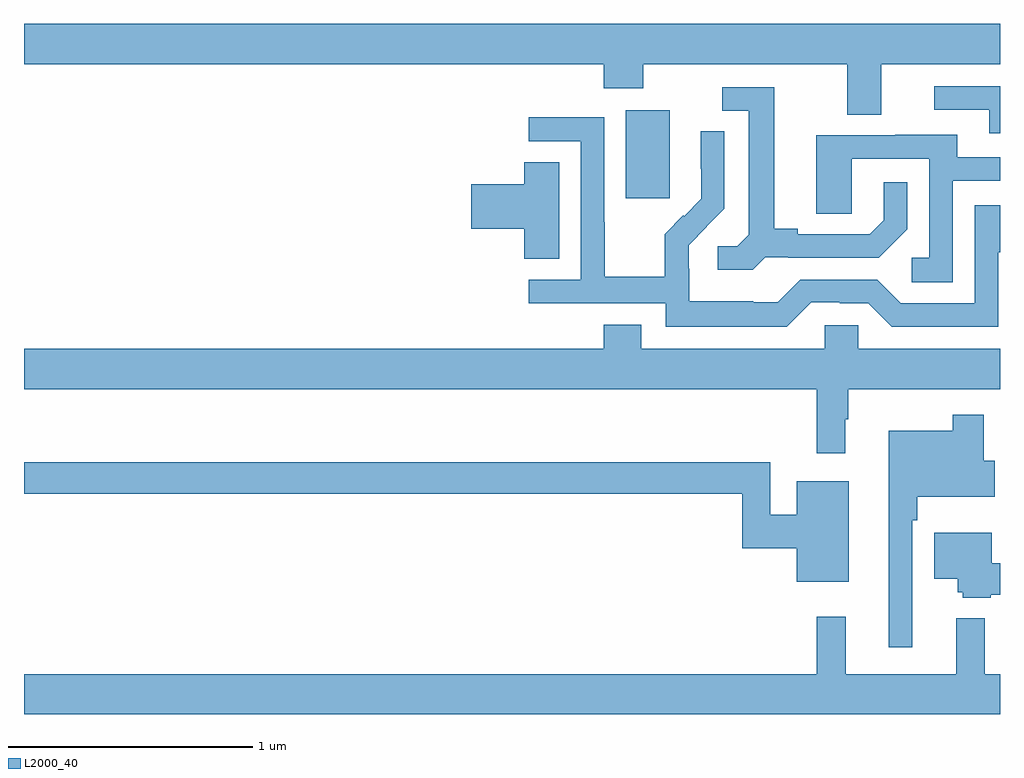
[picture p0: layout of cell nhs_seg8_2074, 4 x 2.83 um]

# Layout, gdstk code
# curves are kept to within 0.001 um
import gdstk
lib = gdstk.Library(unit=1e-6, precision=1e-09)
def R(c, l, rs):  # rectangles x0, y0, x1, y1
    for r in rs: c.add(gdstk.rectangle(r[:2], r[2:], *l))
def P(c, l, *ps):  # polygons
    for p in ps: c.add(gdstk.Polygon(p, *l))
L2000_40 = (2000, 40)

nhs_seg8_2074 = lib.new_cell('nhs_seg8_2074')
R(nhs_seg8_2074, L2000_40, [(243.467,1130.601,243.646,1130.962)])
P(nhs_seg8_2074, L2000_40, [(244.513,1131.152),(245,1131.152),(245,1131.316),(241,1131.316),(241,1131.152),(243.377,1131.152),(243.377,1131.053),(243.537,1131.053),(243.537,1131.152),(244.373,1131.152),(244.373,1130.944),(244.513,1130.944)],
  [(245,1131.06),(244.731,1131.06),(244.731,1130.964),(244.955,1130.964),(244.955,1130.868),(245,1130.868)],
  [(244.038,1130.361),(244.132,1130.361),(244.132,1130.358),(244.504,1130.358),(244.62,1130.474),(244.62,1130.668),(244.523,1130.668),(244.523,1130.511),(244.466,1130.454),(244.171,1130.454),(244.171,1130.477),(244.075,1130.477),(244.075,1131.057),(243.861,1131.057),(243.861,1130.961),(243.971,1130.961),(243.971,1130.453),(243.924,1130.406),(243.843,1130.406),(243.843,1130.309),(243.986,1130.309)],
  [(244.227,1130.175),(244.343,1130.175),(244.343,1130.172),(244.461,1130.172),(244.557,1130.076),(244.992,1130.076),(244.992,1130.381),(245,1130.381),(245,1130.574),(244.896,1130.574),(244.896,1130.172),(244.593,1130.172),(244.497,1130.268),(244.182,1130.268),(244.089,1130.175),(243.989,1130.175),(243.989,1130.179),(243.726,1130.179),(243.726,1130.313),(243.724,1130.313),(243.724,1130.41),(243.87,1130.558),(243.87,1130.876),(243.774,1130.876),(243.774,1130.722),(243.776,1130.722),(243.776,1130.6),(243.705,1130.529),(243.702,1130.532),(243.625,1130.455),(243.625,1130.281),(243.381,1130.281),(243.381,1130.504),(243.378,1130.504),(243.378,1130.934),(243.069,1130.934),(243.069,1130.835),(243.282,1130.835),(243.282,1130.268),(243.069,1130.268),(243.069,1130.172),(243.63,1130.172),(243.63,1130.075),(244.127,1130.075)],
  [(244.806,1130.673),(245,1130.673),(245,1130.769),(244.825,1130.769),(244.825,1130.863),(244.571,1130.863),(244.571,1130.859),(244.247,1130.859),(244.247,1130.539),(244.392,1130.539),(244.392,1130.763),(244.71,1130.763),(244.71,1130.358),(244.638,1130.358),(244.638,1130.257),(244.806,1130.257)],
  [(243.193,1130.75),(243.05,1130.75),(243.05,1130.66),(242.832,1130.66),(242.832,1130.477),(243.05,1130.477),(243.05,1130.353),(243.193,1130.353)],
  [(244.366,1129.697),(244.378,1129.697),(244.378,1129.82),(245,1129.82),(245,1129.984),(244.419,1129.984),(244.419,1130.082),(244.281,1130.082),(244.281,1129.984),(243.529,1129.984),(243.529,1130.083),(243.377,1130.083),(243.377,1129.984),(241,1129.984),(241,1129.82),(244.249,1129.82),(244.249,1129.557),(244.366,1129.557)],
  [(244.641,1129.283),(244.661,1129.283),(244.661,1129.379),(244.978,1129.379),(244.978,1129.527),(244.934,1129.527),(244.934,1129.714),(244.806,1129.714),(244.806,1129.648),(244.544,1129.648),(244.544,1128.762),(244.641,1128.762)],
  [(244.381,1129.441),(244.166,1129.441),(244.166,1129.304),(244.059,1129.304),(244.059,1129.519),(241,1129.519),(241,1129.39),(243.943,1129.39),(243.943,1129.168),(244.166,1129.168),(244.166,1129.031),(244.381,1129.031)],
  [(244.962,1128.976),(245,1128.976),(245,1129.105),(244.966,1129.105),(244.966,1129.231),(244.73,1129.231),(244.73,1129.043),(244.826,1129.043),(244.826,1128.987),(244.848,1128.987),(244.848,1128.965),(244.962,1128.965)],
  [(245,1128.652),(244.937,1128.652),(244.937,1128.88),(244.82,1128.88),(244.82,1128.652),(244.367,1128.652),(244.367,1128.886),(244.249,1128.886),(244.249,1128.652),(241,1128.652),(241,1128.488),(245,1128.488)])

lib.write_gds('nhs_seg8_2074.gds')
